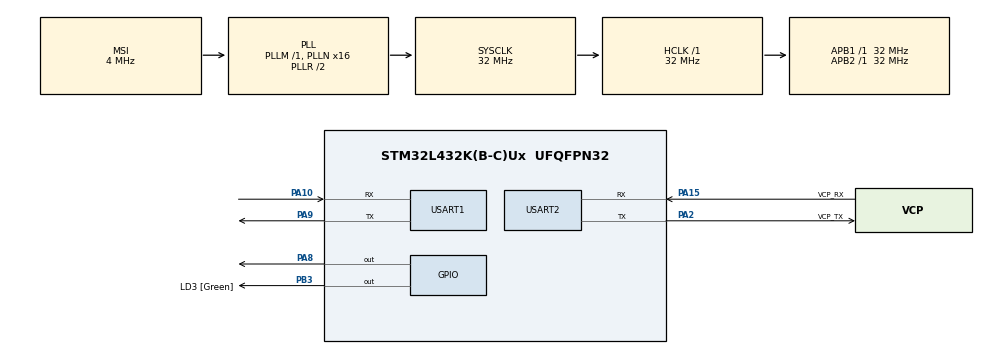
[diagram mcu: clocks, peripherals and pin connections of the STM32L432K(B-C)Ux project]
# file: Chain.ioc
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Mcu.Family=STM32L4
Mcu.Name=STM32L432K(B-C)Ux
Mcu.Package=UFQFPN32
NVIC.PriorityGroup=NVIC_PRIORITYGROUP_4
PA0.GPIO_Label=MCO [High speed clock in]
PA0.Mode=HSE-External-Clock-Source-for-LittleOrca
PA0.Signal=RCC_CK_IN
PA10.Mode=Asynchronous
PA10.Signal=USART1_RX
PA13\ (JTMS-SWDIO).GPIO_Label=SWDIO
PA13\ (JTMS-SWDIO).Mode=Serial_Wire
PA13\ (JTMS-SWDIO).Signal=SYS_JTMS-SWDIO
PA14\ (JTCK-SWCLK).GPIO_Label=SWCLK
PA14\ (JTCK-SWCLK).Mode=Serial_Wire
PA14\ (JTCK-SWCLK).Signal=SYS_JTCK-SWCLK
PA15\ (JTDI).GPIO_Label=VCP_RX
PA15\ (JTDI).Mode=Asynchronous
PA15\ (JTDI).Signal=USART2_RX
PA2.GPIO_Label=VCP_TX
PA2.Mode=Asynchronous
PA2.Signal=USART2_TX
PA8.Signal=GPIO_Output
PA9.Mode=Asynchronous
PA9.Signal=USART1_TX
PB3\ (JTDO-TRACESWO).GPIO_Label=LD3 [Green]
PB3\ (JTDO-TRACESWO).Signal=GPIO_Output
PC14-OSC32_IN\ (PC14).Mode=LSE-External-Oscillator
PC14-OSC32_IN\ (PC14).Signal=RCC_OSC32_IN
PC15-OSC32_OUT\ (PC15).Mode=LSE-External-Oscillator
PC15-OSC32_OUT\ (PC15).Signal=RCC_OSC32_OUT
ProjectManager.HeapSize=0x200
ProjectManager.StackSize=0x400
ProjectManager.TargetToolchain=STM32CubeIDE
RCC.AHBFreq_Value=32000000
RCC.APB1Freq_Value=32000000
RCC.APB1TimFreq_Value=32000000
RCC.APB2Freq_Value=32000000
RCC.APB2TimFreq_Value=32000000
RCC.CortexFreq_Value=32000000
RCC.HCLKFreq_Value=32000000
RCC.HSE_VALUE=8000000
RCC.HSI16_VALUE=16000000
RCC.HSI48_VALUE=48000000
RCC.HSI_VALUE=16000000
RCC.MSI_VALUE=4000000
RCC.PLLMUL=RCC_PLLMUL_4
RCC.PLLN=16
RCC.SYSCLKFreq_VALUE=32000000
RCC.SYSCLKSource=RCC_SYSCLKSOURCE_PLLCLK
RCC.VCOOutputFreq_Value=64000000
USART1.VirtualMode-Asynchronous=VM_ASYNC
USART2.VirtualMode-Asynchronous=VM_ASYNC
board=NUCLEO-L432KC

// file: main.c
/* USER CODE BEGIN Header */
/**
  ******************************************************************************
  * @file           : main.c
  * @brief          : Main program body
  ******************************************************************************
  * @attention
  *
  * Copyright (c) 2026 STMicroelectronics.
  * All rights reserved.
  *
  * This software is licensed under terms that can be found in the LICENSE file
  * in the root directory of this software component.
  * If no LICENSE file comes with this software, it is provided AS-IS.
  *
  ******************************************************************************
  */
/* USER CODE END Header */
#include "main.h"

/* USER CODE BEGIN Includes */

#include <string.h>
#include <stdio.h>

/* USER CODE END Includes */

UART_HandleTypeDef huart1;
UART_HandleTypeDef huart2;

void SystemClock_Config(void);
static void MX_GPIO_Init(void);
static void MX_USART2_UART_Init(void);
static void MX_USART1_UART_Init(void);

int main(void)
{

  /* USER CODE BEGIN 1 */

	void receive(UART_HandleTypeDef *huart, char *buffer) {
	    uint8_t one_character = 0;
	    int position = 0;

	    for(int k = 0; k < 128; k = k + 1) {
	        buffer[k] = 0;
	    }

	    while (position < 127) {
	        HAL_UART_Receive(huart, &one_character, 1, HAL_MAX_DELAY);
	        if (one_character == '\n') {
	            break;
	        }
	        if (one_character != '\r') {
	            buffer[position] = (char)one_character;
	            position = position + 1;
	        }
	    }
	    buffer[position] = '\0';

	}

  /* USER CODE END 1 */

  /* MCU Configuration--------------------------------------------------------*/

  /* Reset of all peripherals, Initializes the Flash interface and the Systick. */
  HAL_Init();

  /* Configure the system clock */
  SystemClock_Config();

  /* Initialize all configured peripherals */
  MX_GPIO_Init();
  MX_USART2_UART_Init();
  MX_USART1_UART_Init();
  /* USER CODE BEGIN 2 */

  char rx_buffer[128];
    char tx_buffer[128];

    char my_id[] = "G10_3";

  /* USER CODE END 2 */

  /* Infinite loop */
  while (1)
  {

	  // receive string from previous node
	        receive(&huart1, rx_buffer);

	        // add to string
	        sprintf(tx_buffer, "%s-%s\n", rx_buffer, my_id);

	        // led
	        HAL_GPIO_WritePin(LD3_GPIO_Port, LD3_Pin, 1);
	        HAL_Delay(250);
	        HAL_GPIO_WritePin(LD3_GPIO_Port, LD3_Pin, 0);

	        // send to next node
	        HAL_UART_Transmit(&huart1, (uint8_t*)tx_buffer, strlen(tx_buffer), HAL_MAX_DELAY);
  }
}

void SystemClock_Config(void)
{
  RCC_OscInitTypeDef RCC_OscInitStruct = {0};
  RCC_ClkInitTypeDef RCC_ClkInitStruct = {0};

  /** Configure the main internal regulator output voltage
  */
  if (HAL_PWREx_ControlVoltageScaling(PWR_REGULATOR_VOLTAGE_SCALE1) != HAL_OK)
  {
    Error_Handler();
  }

  /** Configure LSE Drive Capability
  */
  HAL_PWR_EnableBkUpAccess();
  __HAL_RCC_LSEDRIVE_CONFIG(RCC_LSEDRIVE_LOW);

  /** Initializes the RCC Oscillators according to the specified parameters
  * in the RCC_OscInitTypeDef structure.
  */
  RCC_OscInitStruct.OscillatorType = RCC_OSCILLATORTYPE_LSE|RCC_OSCILLATORTYPE_MSI;
  RCC_OscInitStruct.LSEState = RCC_LSE_ON;
  RCC_OscInitStruct.MSIState = RCC_MSI_ON;
  RCC_OscInitStruct.MSICalibrationValue = 0;
  RCC_OscInitStruct.MSIClockRange = RCC_MSIRANGE_6;
  RCC_OscInitStruct.PLL.PLLState = RCC_PLL_ON;
  RCC_OscInitStruct.PLL.PLLSource = RCC_PLLSOURCE_MSI;
  RCC_OscInitStruct.PLL.PLLM = 1;
  RCC_OscInitStruct.PLL.PLLN = 16;
  RCC_OscInitStruct.PLL.PLLP = RCC_PLLP_DIV7;
  RCC_OscInitStruct.PLL.PLLQ = RCC_PLLQ_DIV2;
  RCC_OscInitStruct.PLL.PLLR = RCC_PLLR_DIV2;
  if (HAL_RCC_OscConfig(&RCC_OscInitStruct) != HAL_OK)
  {
    Error_Handler();
  }

  /** Initializes the CPU, AHB and APB buses clocks
  */
  RCC_ClkInitStruct.ClockType = RCC_CLOCKTYPE_HCLK|RCC_CLOCKTYPE_SYSCLK
                              |RCC_CLOCKTYPE_PCLK1|RCC_CLOCKTYPE_PCLK2;
  RCC_ClkInitStruct.SYSCLKSource = RCC_SYSCLKSOURCE_PLLCLK;
  RCC_ClkInitStruct.AHBCLKDivider = RCC_SYSCLK_DIV1;
  RCC_ClkInitStruct.APB1CLKDivider = RCC_HCLK_DIV1;
  RCC_ClkInitStruct.APB2CLKDivider = RCC_HCLK_DIV1;

  if (HAL_RCC_ClockConfig(&RCC_ClkInitStruct, FLASH_LATENCY_1) != HAL_OK)
  {
    Error_Handler();
  }

  /** Enable MSI Auto calibration
  */
  HAL_RCCEx_EnableMSIPLLMode();
}

static void MX_USART1_UART_Init(void)
{

  huart1.Instance = USART1;
  huart1.Init.BaudRate = 115200;
  huart1.Init.WordLength = UART_WORDLENGTH_8B;
  huart1.Init.StopBits = UART_STOPBITS_1;
  huart1.Init.Parity = UART_PARITY_NONE;
  huart1.Init.Mode = UART_MODE_TX_RX;
  huart1.Init.HwFlowCtl = UART_HWCONTROL_NONE;
  huart1.Init.OverSampling = UART_OVERSAMPLING_16;
  huart1.Init.OneBitSampling = UART_ONE_BIT_SAMPLE_DISABLE;
  huart1.AdvancedInit.AdvFeatureInit = UART_ADVFEATURE_NO_INIT;
  if (HAL_UART_Init(&huart1) != HAL_OK)
  {
    Error_Handler();
  }

}

static void MX_USART2_UART_Init(void)
{

  huart2.Instance = USART2;
  huart2.Init.BaudRate = 115200;
  huart2.Init.WordLength = UART_WORDLENGTH_8B;
  huart2.Init.StopBits = UART_STOPBITS_1;
  huart2.Init.Parity = UART_PARITY_NONE;
  huart2.Init.Mode = UART_MODE_TX_RX;
  huart2.Init.HwFlowCtl = UART_HWCONTROL_NONE;
  huart2.Init.OverSampling = UART_OVERSAMPLING_16;
  huart2.Init.OneBitSampling = UART_ONE_BIT_SAMPLE_DISABLE;
  huart2.AdvancedInit.AdvFeatureInit = UART_ADVFEATURE_NO_INIT;
  if (HAL_UART_Init(&huart2) != HAL_OK)
  {
    Error_Handler();
  }

}

static void MX_GPIO_Init(void)
{
  GPIO_InitTypeDef GPIO_InitStruct = {0};

  /* GPIO Ports Clock Enable */
  __HAL_RCC_GPIOC_CLK_ENABLE();
  __HAL_RCC_GPIOA_CLK_ENABLE();
  __HAL_RCC_GPIOB_CLK_ENABLE();

  /*Configure GPIO pin Output Level */
  HAL_GPIO_WritePin(GPIOA, GPIO_PIN_8, GPIO_PIN_RESET);

  /*Configure GPIO pin Output Level */
  HAL_GPIO_WritePin(LD3_GPIO_Port, LD3_Pin, GPIO_PIN_RESET);

  /*Configure GPIO pin : PA8 */
  GPIO_InitStruct.Pin = GPIO_PIN_8;
  GPIO_InitStruct.Mode = GPIO_MODE_OUTPUT_PP;
  GPIO_InitStruct.Pull = GPIO_NOPULL;
  GPIO_InitStruct.Speed = GPIO_SPEED_FREQ_LOW;
  HAL_GPIO_Init(GPIOA, &GPIO_InitStruct);

  /*Configure GPIO pin : LD3_Pin */
  GPIO_InitStruct.Pin = LD3_Pin;
  GPIO_InitStruct.Mode = GPIO_MODE_OUTPUT_PP;
  GPIO_InitStruct.Pull = GPIO_NOPULL;
  GPIO_InitStruct.Speed = GPIO_SPEED_FREQ_LOW;
  HAL_GPIO_Init(LD3_GPIO_Port, &GPIO_InitStruct);

}

void Error_Handler(void)
{
  __disable_irq();
  while (1)
  {
  }
}
